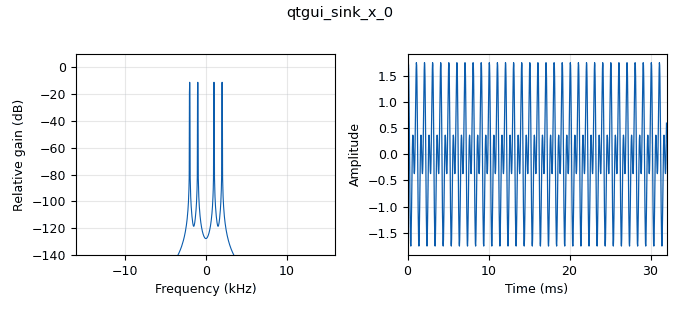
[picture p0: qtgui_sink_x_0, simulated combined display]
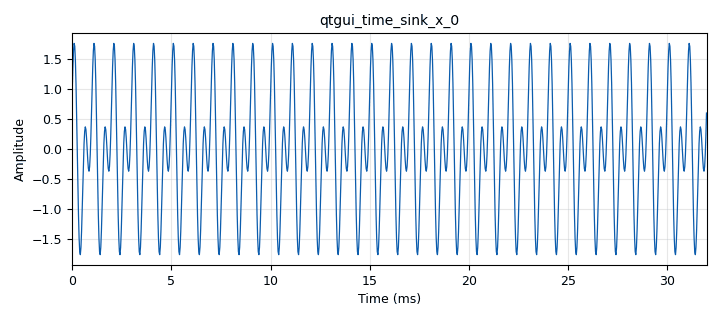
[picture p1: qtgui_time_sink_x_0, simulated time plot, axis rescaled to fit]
<?xml version='1.0' encoding='utf-8'?>
<?grc format='1' created='3.7.9'?>
<flow_graph>
<block>
<key>options</key>
<param><key>id</key><value>top_block</value></param>
<param><key>category</key><value>Custom</value></param>
<param><key>generate_options</key><value>qt_gui</value></param>
</block>
<block>
<key>variable_qtgui_range</key>
<param><key>id</key><value>f1</value></param>
<param><key>value</key><value>1000</value></param>
<param><key>orient</key><value>Qt.Horizontal</value></param>
<param><key>start</key><value>0</value></param>
<param><key>step</key><value>100</value></param>
<param><key>stop</key><value>10000</value></param>
</block>
<block>
<key>variable</key>
<param><key>id</key><value>samp_rate</value></param>
<param><key>value</key><value>32000</value></param>
</block>
<block>
<key>variable_qtgui_chooser</key>
<param><key>id</key><value>sel1</value></param>
<param><key>value</key><value>0</value></param>
<param><key>label0</key><value>direct</value></param>
<param><key>label1</key><value>filtered</value></param>
<param><key>num_opts</key><value>2</value></param>
<param><key>option0</key><value>0</value></param>
<param><key>option1</key><value>1</value></param>
<param><key>type</key><value>int</value></param>
</block>
<block>
<key>analog_sig_source_x</key>
<param><key>id</key><value>analog_sig_source_x_0</value></param>
<param><key>amp</key><value>1</value></param>
<param><key>freq</key><value>f1</value></param>
<param><key>offset</key><value>0</value></param>
<param><key>type</key><value>float</value></param>
<param><key>samp_rate</key><value>samp_rate</value></param>
<param><key>waveform</key><value>analog.GR_COS_WAVE</value></param>
</block>
<block>
<key>analog_sig_source_x</key>
<param><key>id</key><value>analog_sig_source_x_1</value></param>
<param><key>amp</key><value>1</value></param>
<param><key>freq</key><value>2000</value></param>
<param><key>offset</key><value>0</value></param>
<param><key>type</key><value>float</value></param>
<param><key>samp_rate</key><value>samp_rate</value></param>
<param><key>waveform</key><value>analog.GR_SIN_WAVE</value></param>
</block>
<block>
<key>audio_sink</key>
<param><key>id</key><value>audio_sink_0</value></param>
<param><key>samp_rate</key><value>samp_rate</value></param>
</block>
<block>
<key>blocks_add_xx</key>
<param><key>id</key><value>blocks_add_xx_0</value></param>
<param><key>type</key><value>float</value></param>
</block>
<block>
<key>blocks_multiply_xx</key>
<param><key>id</key><value>blocks_multiply_xx_0</value></param>
<param><key>_enabled</key><value>0</value></param>
<param><key>type</key><value>float</value></param>
</block>
<block>
<key>blocks_throttle</key>
<param><key>id</key><value>blocks_throttle_0</value></param>
<param><key>samples_per_second</key><value>samp_rate</value></param>
<param><key>type</key><value>float</value></param>
</block>
<block>
<key>low_pass_filter</key>
<param><key>id</key><value>low_pass_filter_0</value></param>
<param><key>cutoff_freq</key><value>1000</value></param>
<param><key>decim</key><value>1</value></param>
<param><key>_enabled</key><value>2</value></param>
<param><key>type</key><value>fir_filter_fff</value></param>
<param><key>gain</key><value>1</value></param>
<param><key>samp_rate</key><value>samp_rate</value></param>
<param><key>width</key><value>500</value></param>
<param><key>win</key><value>firdes.WIN_BLACKMAN</value></param>
</block>
<block>
<key>qtgui_sink_x</key>
<param><key>id</key><value>qtgui_sink_x_0</value></param>
<param><key>bw</key><value>samp_rate</value></param>
<param><key>fc</key><value>0</value></param>
<param><key>freqchangevar</key><value>None</value></param>
<param><key>fftsize</key><value>1024</value></param>
<param><key>showports</key><value>True</value></param>
<param><key>type</key><value>float</value></param>
<param><key>wintype</key><value>firdes.WIN_HAMMING</value></param>
</block>
<block>
<key>qtgui_time_sink_x</key>
<param><key>id</key><value>qtgui_time_sink_x_0</value></param>
<param><key>color1</key><value>"blue"</value></param>
<param><key>label1</key><value></value></param>
<param><key>size</key><value>1024</value></param>
<param><key>srate</key><value>samp_rate</value></param>
<param><key>type</key><value>float</value></param>
</block>
<block>
<key>blks2_selector</key>
<param><key>id</key><value>selector</value></param>
<param><key>input_index</key><value>0</value></param>
<param><key>num_inputs</key><value>2</value></param>
<param><key>num_outputs</key><value>1</value></param>
<param><key>output_index</key><value>0</value></param>
<param><key>type</key><value>float</value></param>
<param><key>vlen</key><value>1</value></param>
</block>
<connection><source_block_id>analog_sig_source_x_0</source_block_id><sink_block_id>blocks_add_xx_0</sink_block_id><source_key>0</source_key><sink_key>0</sink_key></connection>
<connection><source_block_id>analog_sig_source_x_0</source_block_id><sink_block_id>blocks_multiply_xx_0</sink_block_id><source_key>0</source_key><sink_key>0</sink_key></connection>
<connection><source_block_id>analog_sig_source_x_1</source_block_id><sink_block_id>blocks_add_xx_0</sink_block_id><source_key>0</source_key><sink_key>1</sink_key></connection>
<connection><source_block_id>analog_sig_source_x_1</source_block_id><sink_block_id>blocks_multiply_xx_0</sink_block_id><source_key>0</source_key><sink_key>1</sink_key></connection>
<connection><source_block_id>blocks_add_xx_0</source_block_id><sink_block_id>blocks_throttle_0</sink_block_id><source_key>0</source_key><sink_key>0</sink_key></connection>
<connection><source_block_id>blocks_multiply_xx_0</source_block_id><sink_block_id>blocks_throttle_0</sink_block_id><source_key>0</source_key><sink_key>0</sink_key></connection>
<connection><source_block_id>blocks_throttle_0</source_block_id><sink_block_id>low_pass_filter_0</sink_block_id><source_key>0</source_key><sink_key>0</sink_key></connection>
<connection><source_block_id>blocks_throttle_0</source_block_id><sink_block_id>selector</sink_block_id><source_key>0</source_key><sink_key>0</sink_key></connection>
<connection><source_block_id>low_pass_filter_0</source_block_id><sink_block_id>qtgui_sink_x_0</sink_block_id><source_key>0</source_key><sink_key>0</sink_key></connection>
<connection><source_block_id>low_pass_filter_0</source_block_id><sink_block_id>qtgui_time_sink_x_0</sink_block_id><source_key>0</source_key><sink_key>0</sink_key></connection>
<connection><source_block_id>low_pass_filter_0</source_block_id><sink_block_id>selector</sink_block_id><source_key>0</source_key><sink_key>1</sink_key></connection>
<connection><source_block_id>selector</source_block_id><sink_block_id>audio_sink_0</sink_block_id><source_key>0</source_key><sink_key>0</sink_key></connection>
</flow_graph>
